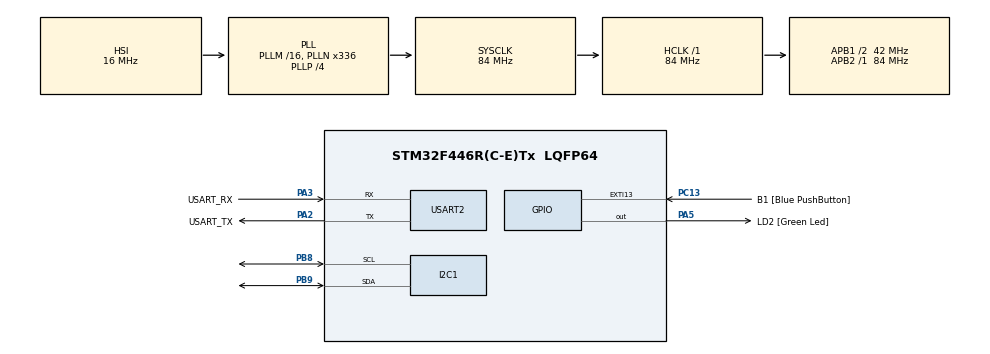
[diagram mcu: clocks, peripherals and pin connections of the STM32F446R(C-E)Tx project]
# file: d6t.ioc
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Mcu.Family=STM32F4
Mcu.Name=STM32F446R(C-E)Tx
Mcu.Package=LQFP64
NVIC.PriorityGroup=NVIC_PRIORITYGROUP_0
PA13.GPIO_Label=TMS
PA13.Mode=Serial_Wire
PA13.Signal=SYS_JTMS-SWDIO
PA14.GPIO_Label=TCK
PA14.Mode=Serial_Wire
PA14.Signal=SYS_JTCK-SWCLK
PA2.GPIO_Label=USART_TX
PA2.Mode=Asynchronous
PA2.Signal=USART2_TX
PA3.GPIO_Label=USART_RX
PA3.Mode=Asynchronous
PA3.Signal=USART2_RX
PA5.GPIO_Label=LD2 [Green Led]
PA5.Signal=GPIO_Output
PB3.GPIO_Label=SWO
PB3.Signal=SYS_JTDO-SWO
PB8.Mode=I2C
PB8.Signal=I2C1_SCL
PB9.Mode=I2C
PB9.Signal=I2C1_SDA
PC13.GPIO_Label=B1 [Blue PushButton]
PC13.GPIO_ModeDefaultEXTI=GPIO_MODE_IT_FALLING
PC13.Signal=GPXTI13
PC14-OSC32_IN.Mode=LSE-External-Oscillator
PC14-OSC32_IN.Signal=RCC_OSC32_IN
PC15-OSC32_OUT.Mode=LSE-External-Oscillator
PC15-OSC32_OUT.Signal=RCC_OSC32_OUT
PH0-OSC_IN.Mode=HSE-External-Oscillator
PH0-OSC_IN.Signal=RCC_OSC_IN
PH1-OSC_OUT.Mode=HSE-External-Oscillator
PH1-OSC_OUT.Signal=RCC_OSC_OUT
ProjectManager.HeapSize=0x200
ProjectManager.StackSize=0x400
ProjectManager.TargetToolchain=STM32CubeIDE
RCC.48MHZClocksFreq_Value=84000000
RCC.AHBFreq_Value=84000000
RCC.APB1CLKDivider=RCC_HCLK_DIV2
RCC.APB1Freq_Value=42000000
RCC.APB1TimFreq_Value=84000000
RCC.APB2Freq_Value=84000000
RCC.APB2TimFreq_Value=84000000
RCC.CortexFreq_Value=84000000
RCC.FLatency-AdvancedSettings=FLASH_LATENCY_2
RCC.HCLKFreq_Value=84000000
RCC.HSE_VALUE=8000000
RCC.HSI_VALUE=16000000
RCC.PLLN=336
RCC.PLLP=RCC_PLLP_DIV4
RCC.SYSCLKFreq_VALUE=84000000
RCC.SYSCLKSource=RCC_SYSCLKSOURCE_PLLCLK
RCC.USBFreq_Value=168000000
RCC.VCOOutputFreq_Value=336000000
USART2.VirtualMode=VM_ASYNC
board=NUCLEO-F446RE

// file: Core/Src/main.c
/* USER CODE BEGIN Header */
/**
  ******************************************************************************
  * @file           : main.c
  * @brief          : Main program body
  ******************************************************************************
  * @attention
  *
  * Copyright (c) 2025 STMicroelectronics.
  * All rights reserved.
  *
  * This software is licensed under terms that can be found in the LICENSE file
  * in the root directory of this software component.
  * If no LICENSE file comes with this software, it is provided AS-IS.
  *
  ******************************************************************************
  */
/* USER CODE END Header */
#include "main.h"

/* USER CODE BEGIN Includes */
#include <stdio.h>
#include <string.h>
#include <stdint.h>
/* USER CODE END Includes */

/* USER CODE BEGIN PD */
#define D6T_ADDR  0x0A //
#define D6T_WRITE 0X14 //
#define D6T_READ  0X15 //

// Register Addresses
#define D6T_REG_CONFIG 0x01
#define D6T_REG_DATA   0x4D

// Default configuration : IIR = 0 (through), Avg = 4
#define D6T_DEFAULT_CONFIG 0x04 // IIR[3:0]=0, Avg[3:0]=4

// Timeout for I2C communication (1 second as per spec)
#define D6T_TIMEOUT 1000

// Data buffer size (PTAT: 2 bytes, 1024 pixels * 2 bytes, PEC: 1 byte)
#define D6T_DATA_SIZE 2051

/* USER CODE END PD */

I2C_HandleTypeDef hi2c1;

UART_HandleTypeDef huart2;

void SystemClock_Config(void);
static void MX_GPIO_Init(void);
static void MX_USART2_UART_Init(void);
static void MX_I2C1_Init(void);
/* USER CODE BEGIN PFP */

char msg[128]; // buffer for sprintf
int16_t pixels[1024]; // buffer for pixels data

HAL_StatusTypeDef D6T_Init(I2C_HandleTypeDef *hi2c, uint8_t config);
HAL_StatusTypeDef D6T_Read(I2C_HandleTypeDef *hi2c, int16_t *ptat, int16_t *pixels, uint8_t *pec);

/* USER CODE END PFP */

/* USER CODE BEGIN 0 */
HAL_StatusTypeDef D6T_Init(I2C_HandleTypeDef *hi2c, uint8_t config)
{
    uint8_t tx[2] = {D6T_REG_CONFIG, config};
    return HAL_I2C_Master_Transmit(hi2c, (D6T_ADDR << 1), tx, 2, D6T_TIMEOUT);
}

HAL_StatusTypeDef D6T_Read(I2C_HandleTypeDef *hi2c, int16_t *ptat, int16_t *pixels, uint8_t *pec)
{
    static uint8_t raw[D6T_DATA_SIZE]; // static to avoid stack overflow

    // Perform a memory read (handles repeated start automatically)
    if (HAL_I2C_Mem_Read(hi2c, (D6T_ADDR << 1), D6T_REG_DATA,
                         I2C_MEMADD_SIZE_8BIT, raw, D6T_DATA_SIZE, D6T_TIMEOUT) != HAL_OK)
    {
        return HAL_ERROR;
    }

    // Parse PTAT
    *ptat = (int16_t)((raw[1] << 8) | raw[0]);

    // Parse 1024 pixels
    for (uint16_t i = 0; i < 1024; i++)
    {
        pixels[i] = (int16_t)((raw[2 + (2 * i) + 1] << 8) | raw[2 + (2 * i)]);
    }

    // PEC byte
    *pec = raw[2050];

    return HAL_OK;
}

/* USER CODE END 0 */

int main(void)
{
  /* MCU Configuration */
  HAL_Init();
  SystemClock_Config();
  MX_GPIO_Init();
  MX_USART2_UART_Init();
  MX_I2C1_Init();

  /* USER CODE BEGIN 2 */
  // Power-on wait (as per your description; manual min is 20ms, but using 350ms)
  HAL_Delay(350);

  if (D6T_Init(&hi2c1, D6T_DEFAULT_CONFIG) != HAL_OK)
  {
	  strcpy(msg, "D6T Init Failed!\r\n");
      HAL_UART_Transmit(&huart2, (uint8_t*)msg, strlen(msg), HAL_MAX_DELAY);
      Error_Handler();
  }
  HAL_Delay(390); // Wait after init

  strcpy(msg, "D6T Initialized. Starting reads...\r\n");
  HAL_UART_Transmit(&huart2, (uint8_t*)msg, strlen(msg), HAL_MAX_DELAY);

  /* USER CODE END 2 */

  while (1)
  {
    /* USER CODE BEGIN WHILE */
      int16_t ptat;
      uint8_t pec;
      HAL_StatusTypeDef status = D6T_Read(&hi2c1, &ptat, pixels, &pec);

      if (status == HAL_OK)
      {
          float sensor_temp = (float)ptat / 10.0f;
          sprintf(msg, "PTAT: %.1f C, PEC: 0x%02X\r\n", sensor_temp, pec);
          HAL_UART_Transmit(&huart2, (uint8_t*)msg, strlen(msg), HAL_MAX_DELAY);

          float avg_temp = 0.0f;
          for (int i = 0; i < 1024; i++)
          {
              avg_temp += (float)pixels[i] / 10.0f;
          }
          avg_temp /= 1024.0f;
          sprintf(msg, "Avg Pixel Temp: %.1f C\r\n\r\n", avg_temp);
          HAL_UART_Transmit(&huart2, (uint8_t*)msg, strlen(msg), HAL_MAX_DELAY);

          for (int row = 0; row < 32; row++)
          {
        	  for (int col = 0; col < 32; col++)
        	  {
        		  float t = (float)pixels[row * 32 + col] / 10.0f;
                  sprintf(msg, "%.1f ", t);
                  HAL_UART_Transmit(&huart2, (uint8_t*)msg, strlen(msg), HAL_MAX_DELAY);
              }
              strcpy(msg, "\r\n");
              HAL_UART_Transmit(&huart2, (uint8_t*)msg, strlen(msg), HAL_MAX_DELAY);
          }
          strcpy(msg, "\r\n");
          HAL_UART_Transmit(&huart2, (uint8_t*)msg, strlen(msg), HAL_MAX_DELAY);

      }
      else
      {
          strcpy(msg, "D6T Read failed!\r\n");
          HAL_UART_Transmit(&huart2, (uint8_t*)msg, strlen(msg), HAL_MAX_DELAY);
      }

      HAL_Delay(200); // Must be >=200ms
    /* USER CODE END WHILE */
    /* USER CODE BEGIN 3 */
  }
}

void SystemClock_Config(void)
{
  RCC_OscInitTypeDef RCC_OscInitStruct = {0};
  RCC_ClkInitTypeDef RCC_ClkInitStruct = {0};

  /** Configure the main internal regulator output voltage
  */
  __HAL_RCC_PWR_CLK_ENABLE();
  __HAL_PWR_VOLTAGESCALING_CONFIG(PWR_REGULATOR_VOLTAGE_SCALE3);

  /** Initializes the RCC Oscillators according to the specified parameters
  * in the RCC_OscInitTypeDef structure.
  */
  RCC_OscInitStruct.OscillatorType = RCC_OSCILLATORTYPE_HSI;
  RCC_OscInitStruct.HSIState = RCC_HSI_ON;
  RCC_OscInitStruct.HSICalibrationValue = RCC_HSICALIBRATION_DEFAULT;
  RCC_OscInitStruct.PLL.PLLState = RCC_PLL_ON;
  RCC_OscInitStruct.PLL.PLLSource = RCC_PLLSOURCE_HSI;
  RCC_OscInitStruct.PLL.PLLM = 16;
  RCC_OscInitStruct.PLL.PLLN = 336;
  RCC_OscInitStruct.PLL.PLLP = RCC_PLLP_DIV4;
  RCC_OscInitStruct.PLL.PLLQ = 2;
  RCC_OscInitStruct.PLL.PLLR = 2;
  if (HAL_RCC_OscConfig(&RCC_OscInitStruct) != HAL_OK)
  {
    Error_Handler();
  }

  /** Initializes the CPU, AHB and APB buses clocks
  */
  RCC_ClkInitStruct.ClockType = RCC_CLOCKTYPE_HCLK|RCC_CLOCKTYPE_SYSCLK
                              |RCC_CLOCKTYPE_PCLK1|RCC_CLOCKTYPE_PCLK2;
  RCC_ClkInitStruct.SYSCLKSource = RCC_SYSCLKSOURCE_PLLCLK;
  RCC_ClkInitStruct.AHBCLKDivider = RCC_SYSCLK_DIV1;
  RCC_ClkInitStruct.APB1CLKDivider = RCC_HCLK_DIV2;
  RCC_ClkInitStruct.APB2CLKDivider = RCC_HCLK_DIV1;

  if (HAL_RCC_ClockConfig(&RCC_ClkInitStruct, FLASH_LATENCY_2) != HAL_OK)
  {
    Error_Handler();
  }
}

static void MX_I2C1_Init(void)
{

  hi2c1.Instance = I2C1;
  hi2c1.Init.ClockSpeed = 100000;
  hi2c1.Init.DutyCycle = I2C_DUTYCYCLE_2;
  hi2c1.Init.OwnAddress1 = 0;
  hi2c1.Init.AddressingMode = I2C_ADDRESSINGMODE_7BIT;
  hi2c1.Init.DualAddressMode = I2C_DUALADDRESS_DISABLE;
  hi2c1.Init.OwnAddress2 = 0;
  hi2c1.Init.GeneralCallMode = I2C_GENERALCALL_DISABLE;
  hi2c1.Init.NoStretchMode = I2C_NOSTRETCH_DISABLE;
  if (HAL_I2C_Init(&hi2c1) != HAL_OK)
  {
    Error_Handler();
  }

}

static void MX_USART2_UART_Init(void)
{

  huart2.Instance = USART2;
  huart2.Init.BaudRate = 115200;
  huart2.Init.WordLength = UART_WORDLENGTH_8B;
  huart2.Init.StopBits = UART_STOPBITS_1;
  huart2.Init.Parity = UART_PARITY_NONE;
  huart2.Init.Mode = UART_MODE_TX_RX;
  huart2.Init.HwFlowCtl = UART_HWCONTROL_NONE;
  huart2.Init.OverSampling = UART_OVERSAMPLING_16;
  if (HAL_UART_Init(&huart2) != HAL_OK)
  {
    Error_Handler();
  }

}

static void MX_GPIO_Init(void)
{
  GPIO_InitTypeDef GPIO_InitStruct = {0};

  /* GPIO Ports Clock Enable */
  __HAL_RCC_GPIOC_CLK_ENABLE();
  __HAL_RCC_GPIOH_CLK_ENABLE();
  __HAL_RCC_GPIOA_CLK_ENABLE();
  __HAL_RCC_GPIOB_CLK_ENABLE();

  /*Configure GPIO pin Output Level */
  HAL_GPIO_WritePin(LD2_GPIO_Port, LD2_Pin, GPIO_PIN_RESET);

  /*Configure GPIO pin : B1_Pin */
  GPIO_InitStruct.Pin = B1_Pin;
  GPIO_InitStruct.Mode = GPIO_MODE_IT_FALLING;
  GPIO_InitStruct.Pull = GPIO_NOPULL;
  HAL_GPIO_Init(B1_GPIO_Port, &GPIO_InitStruct);

  /*Configure GPIO pin : LD2_Pin */
  GPIO_InitStruct.Pin = LD2_Pin;
  GPIO_InitStruct.Mode = GPIO_MODE_OUTPUT_PP;
  GPIO_InitStruct.Pull = GPIO_NOPULL;
  GPIO_InitStruct.Speed = GPIO_SPEED_FREQ_LOW;
  HAL_GPIO_Init(LD2_GPIO_Port, &GPIO_InitStruct);

}

void Error_Handler(void)
{
  __disable_irq();
  while (1)
  {
  }
}
